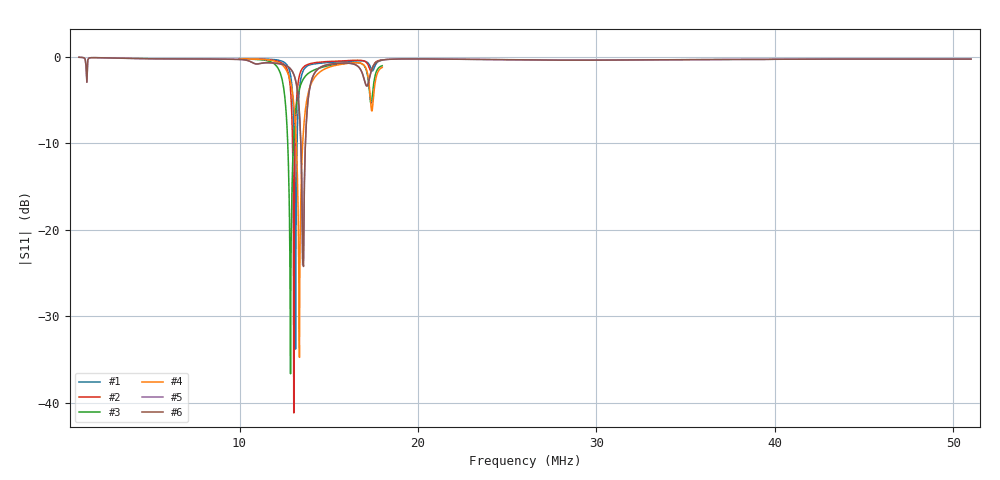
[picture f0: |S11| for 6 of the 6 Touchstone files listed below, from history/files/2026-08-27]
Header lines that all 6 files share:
# Hz S RI R 50
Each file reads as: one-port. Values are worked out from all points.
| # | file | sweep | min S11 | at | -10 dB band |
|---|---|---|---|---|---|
| 1 | AIT_T0.40_L0.11_180series_250shunt_FULL_CYLINDER_NAT_nanovna-sweep-1787864233578.s1p | 10 MHz to 18 MHz | -33.8 dB | 13.14 MHz | 153.5 kHz wide |
| 2 | AIT_T0.59_L0.46_180series_250shunt_FULL_CYLINDER_NAT_nanovna-sweep-1787863999867.s1p | 10 MHz to 18 MHz | -41.2 dB | 13.04 MHz | 146.5 kHz wide |
| 3 | AIT_T0.83_L0.11_160series_230shunt_FULL_CYLINDER_NAT_nanovna-sweep-1787865837525.s1p | 10 MHz to 18 MHz | -36.6 dB | 12.86 MHz | 321 kHz wide |
| 4 | AIT_T0.90_L0.11_120series_220shunt_FULL_CYLINDER_NAT_nanovna-sweep-1787864884705.s1p | 10 MHz to 18 MHz | -34.7 dB | 13.36 MHz | 356.9 kHz wide |
| 5 | nanovna-differential-baseline-2026-08-27T18-03-44-341Z.s1p | 1 MHz to 51 MHz | -24.0 dB | 13.54 MHz | 258.2 kHz wide |
| 6 | nanovna-differential-final-2026-08-27T18-03-44-341Z.s1p | 1 MHz to 51 MHz | -24.2 dB | 13.59 MHz | 258.6 kHz wide |
